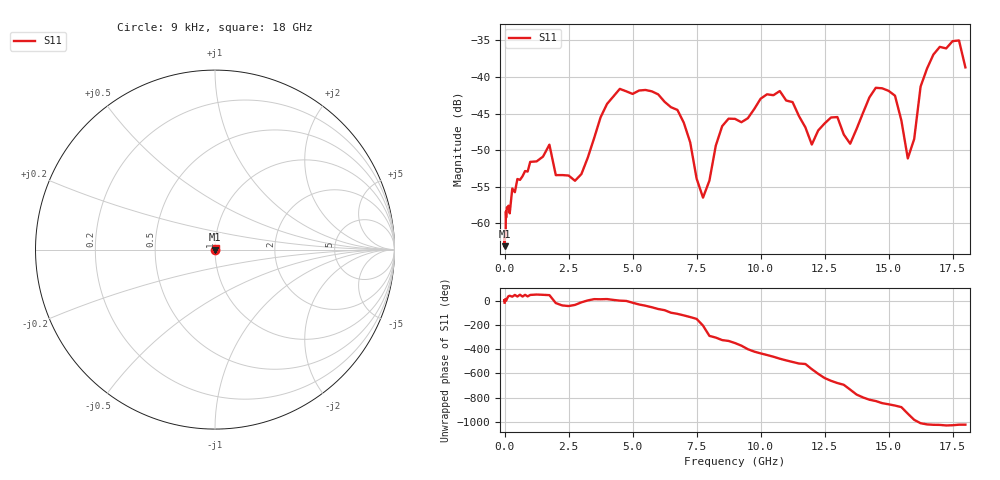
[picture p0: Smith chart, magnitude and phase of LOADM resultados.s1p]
#	HZ	S	MA	R	50.00
! Rohde & Schwarz Vector Network Analyzer
! Rohde-Schwarz,ZNB43-2Port,1334333092101683,4.21
! Created: UTC 09/15/2026, 11:47:42 AM
! freq[Hz]	mag:S12	ang:S12
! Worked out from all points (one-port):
!   116 points, 9 kHz to 18 GHz, reference 50 ohm
!   lowest |S11| = -63.1 dB at 9 kHz (marker M1), VSWR 1.00, Z = 50.1 - j0.0212 ohm
!   |S11| at or under -10 dB: start of sweep to end of sweep
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9000  0.0007 -17.6
4e7  0.0008 9.8
5e7  0.001207 -1.5
3e8  0.001736 32.2
1e9  0.002634 46.4
1.75e9  0.003452 44.9
2e9  0.002138 -20.8
2.5e9  0.002125 -45.0
3e9  0.002175 -14.5
4.75e9  0.00799 -2.9
7e9  0.004875 -122.1
7.75e9  0.001502 154.1
8.5e9  0.004624 34.5
9.25e9  0.004914 -11.3
1.075e10  0.00802 -118.7
1.15e10  0.005405 -158.5
1.2e10  0.003459 155.2
1.275e10  0.005293 59.2
1.35e10  0.003505 -13.4
1.375e10  0.004423 -53.9
1.475e10  0.008376 -124.8
1.525e10  0.007457 -144.5
1.575e10  0.002782 148.6
1.6e10  0.003773 98.0
1.625e10  0.008607 69.9
1.675e10  0.01424 57.0
1.775e10  0.01777 57.9
1.8e10  0.01164 58.1
